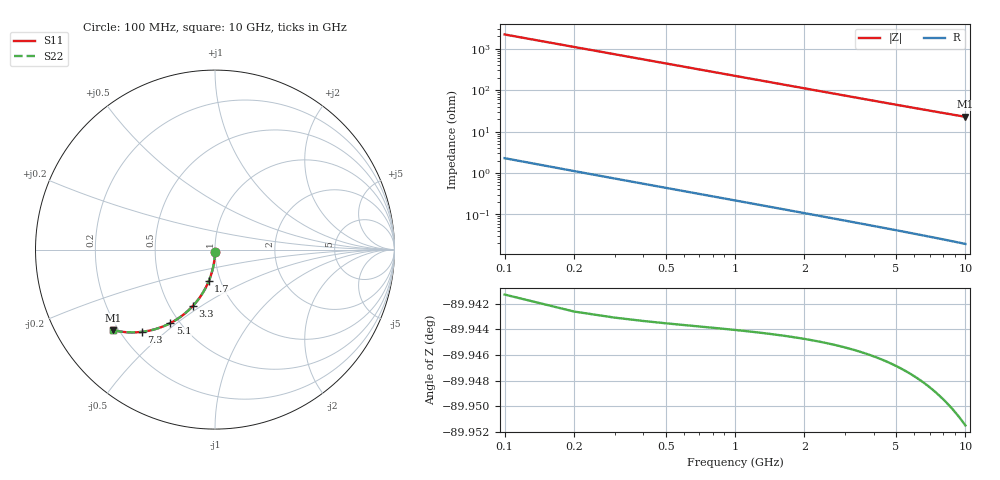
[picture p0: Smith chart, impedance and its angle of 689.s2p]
# Hz S RI R 50.00
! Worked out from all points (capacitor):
!   100 points, 100 MHz to 10 GHz, reference 50 ohm
!   read as one part in shunt: C = 715 fF near 100 MHz
!   lowest |Z| = 22.8 ohm at 10 GHz (marker M1)
!   S11 on the Smith chart (normalised r, x): 100 MHz: 1.00, -0.02; 1.7 GHz: 0.88, -0.32; 3.3 GHz: 0.66, -0.46; 5.1 GHz: 0.44, -0.47; 7.3 GHz: 0.28, -0.42; 10 GHz: 0.18, -0.34
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1e8  -2.27e-05 -0.0108  0.9997 -0.0117  0.9997 -0.0117  -2.27e-05 -0.0108
2e8  -0.000411 -0.0216  0.9994 -0.0233  0.9994 -0.0233  -0.000411 -0.0216
3e8  -0.00105 -0.0323  0.9987 -0.035  0.9987 -0.035  -0.00105 -0.0323
4e8  -0.00194 -0.0431  0.9978 -0.0466  0.9978 -0.0466  -0.00194 -0.0431
5e8  -0.00308 -0.0538  0.9967 -0.0582  0.9967 -0.0582  -0.00308 -0.0538
6e8  -0.00446 -0.0644  0.9953 -0.0697  0.9953 -0.0697  -0.00446 -0.0644
8e8  -0.00797 -0.0856  0.9918 -0.0927  0.9918 -0.0927  -0.00797 -0.0856
9e8  -0.0101 -0.0961  0.9896 -0.1041  0.9896 -0.1041  -0.0101 -0.0961
1.1e9  -0.015 -0.1169  0.9847 -0.1266  0.9847 -0.1266  -0.015 -0.1169
1.4e9  -0.0242 -0.1474  0.9755 -0.1598  0.9755 -0.1598  -0.0242 -0.1474
1.7e9  -0.0353 -0.1769  0.9644 -0.1919  0.9644 -0.1919  -0.0353 -0.1769
1.8e9  -0.0394 -0.1865  0.9602 -0.2024  0.9602 -0.2024  -0.0394 -0.1865
2.1e9  -0.0529 -0.2144  0.9467 -0.2331  0.9467 -0.2331  -0.0529 -0.2144
2.5e9  -0.0734 -0.2497  0.9261 -0.2718  0.9261 -0.2718  -0.0734 -0.2497
3.3e9  -0.1216 -0.3121  0.8777 -0.3414  0.8777 -0.3414  -0.1216 -0.3121
3.4e9  -0.1282 -0.3191  0.8711 -0.3493  0.8711 -0.3493  -0.1282 -0.3191
4.2e9  -0.1837 -0.3684  0.8153 -0.4059  0.8153 -0.4059  -0.1837 -0.3684
5.1e9  -0.2499 -0.41  0.7488 -0.4556  0.7488 -0.4556  -0.2499 -0.41
6.7e9  -0.3669 -0.4516  0.631 -0.5119  0.631 -0.5119  -0.3669 -0.4516
7.3e9  -0.4084 -0.4583  0.5891 -0.5242  0.5891 -0.5242  -0.4084 -0.4583
8.4e9  -0.4792 -0.461  0.5177 -0.5372  0.5177 -0.5372  -0.4792 -0.461
1e10  -0.5683 -0.4487  0.4272 -0.5402  0.4272 -0.5402  -0.5683 -0.4487
